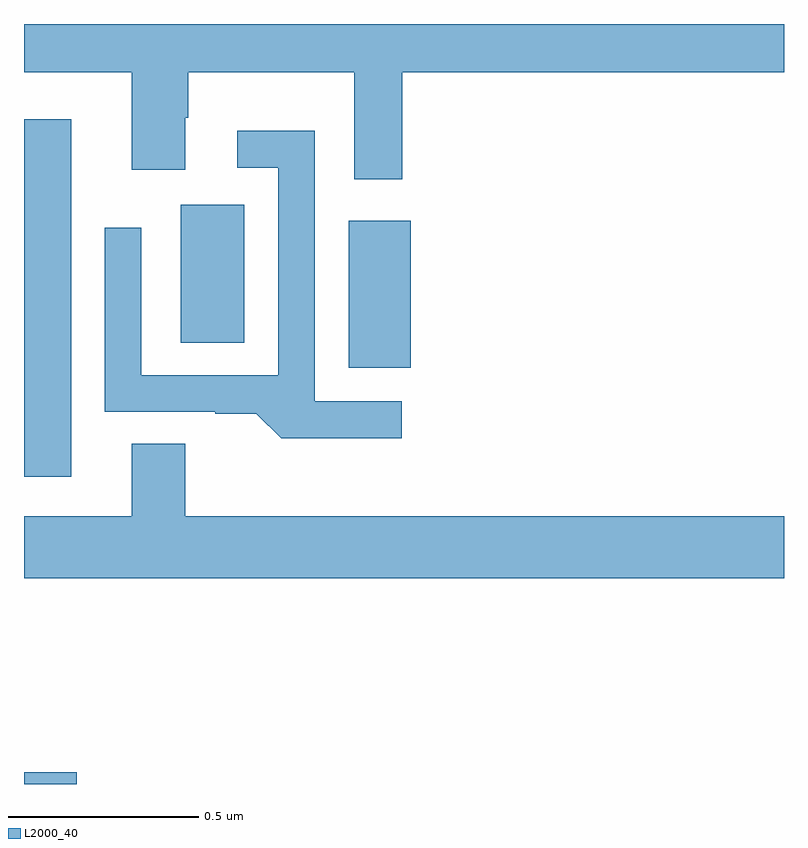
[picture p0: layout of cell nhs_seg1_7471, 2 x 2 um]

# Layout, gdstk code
import gdstk
lib = gdstk.Library(unit=1e-6, precision=1e-09)
def R(c, l, rs):  # rectangles x0, y0, x1, y1
    for r in rs: c.add(gdstk.rectangle(r[:2], r[2:], *l))
def P(c, l, *ps):  # polygons
    for p in ps: c.add(gdstk.Polygon(p, *l))
L2000_40 = (2000, 40)

nhs_seg1_7471 = lib.new_cell('nhs_seg1_7471')
R(nhs_seg1_7471, L2000_40, [(204,543.199,204.139,543.23), (204,544.008,204.124,544.948), (204.854,544.295,205.018,544.681), (204.413,544.36,204.58,544.723)])
P(nhs_seg1_7471, L2000_40, [(204.995,545.072),(206,545.072),(206,545.199),(204,545.199),(204,545.072),(204.284,545.072),(204.284,544.815),(204.424,544.815),(204.424,544.952),(204.432,544.952),(204.432,545.072),(204.869,545.072),(204.869,544.791),(204.995,544.791)],
  [(204.994,544.206),(204.765,544.206),(204.765,544.918),(204.561,544.918),(204.561,544.821),(204.669,544.821),(204.669,544.275),(204.309,544.275),(204.309,544.663),(204.213,544.663),(204.213,544.179),(204.503,544.179),(204.503,544.174),(204.611,544.174),(204.677,544.109),(204.994,544.109)],
  [(206,543.904),(204.424,543.904),(204.424,544.094),(204.284,544.094),(204.284,543.904),(204,543.904),(204,543.74),(206,543.74)])

lib.write_gds('nhs_seg1_7471.gds')
